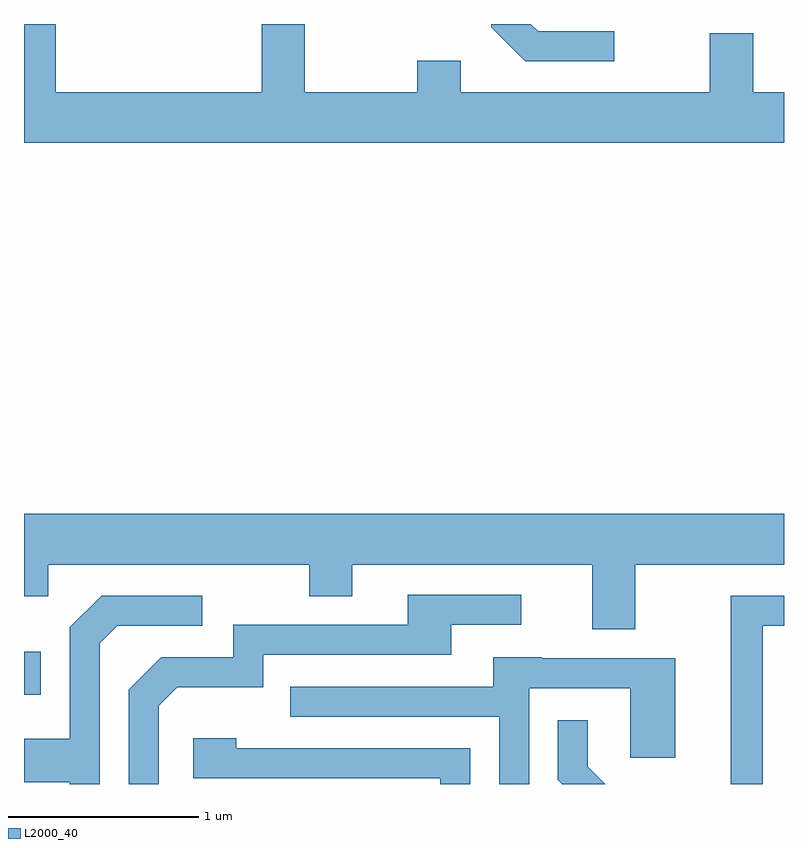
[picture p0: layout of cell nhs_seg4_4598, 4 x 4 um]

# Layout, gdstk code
import gdstk
lib = gdstk.Library(unit=1e-6, precision=1e-09)
def R(c, l, rs):  # rectangles x0, y0, x1, y1
    for r in rs: c.add(gdstk.rectangle(r[:2], r[2:], *l))
def P(c, l, *ps):  # polygons
    for p in ps: c.add(gdstk.Polygon(p, *l))
L2000_40 = (2000, 40)

nhs_seg4_4598 = lib.new_cell('nhs_seg4_4598')
R(nhs_seg4_4598, L2000_40, [(319.611,1338.451,319.699,1338.679)])
P(nhs_seg4_4598, L2000_40, [(323.611,1341.624),(323.449,1341.624),(323.449,1341.934),(323.221,1341.934),(323.221,1341.624),(321.909,1341.624),(321.909,1341.789),(321.681,1341.789),(321.681,1341.624),(321.089,1341.624),(321.089,1341.982),(320.861,1341.982),(320.861,1341.624),(319.779,1341.624),(319.779,1341.982),(319.611,1341.982),(319.611,1341.356),(323.611,1341.356)],
  [(322.718,1341.944),(322.317,1341.944),(322.279,1341.982),(322.071,1341.982),(322.071,1341.964),(322.249,1341.786),(322.718,1341.786)],
  [(322.829,1339.136),(323.611,1339.136),(323.611,1339.404),(319.611,1339.404),(319.611,1338.971),(319.739,1338.971),(319.739,1339.136),(321.111,1339.136),(321.111,1338.971),(321.339,1338.971),(321.339,1339.136),(322.601,1339.136),(322.601,1338.796),(322.829,1338.796)],
  [(320.319,1338.394),(320.417,1338.491),(320.869,1338.491),(320.869,1338.661),(321.859,1338.661),(321.859,1338.821),(322.228,1338.821),(322.228,1338.979),(321.631,1338.979),(321.631,1338.819),(320.711,1338.819),(320.711,1338.649),(320.334,1338.649),(320.161,1338.477),(320.161,1337.982),(320.319,1337.982)],
  [(323.499,1338.816),(323.611,1338.816),(323.611,1338.974),(323.331,1338.974),(323.331,1337.982),(323.499,1337.982)],
  [(320.009,1338.724),(320.102,1338.816),(320.548,1338.816),(320.548,1338.974),(320.019,1338.974),(319.851,1338.807),(319.851,1338.219),(319.611,1338.219),(319.611,1337.991),(319.851,1337.991),(319.851,1337.982),(320.009,1337.982)],
  [(322.269,1338.486),(322.801,1338.486),(322.801,1338.121),(323.039,1338.121),(323.039,1338.644),(322.335,1338.644),(322.335,1338.649),(322.081,1338.649),(322.081,1338.494),(321.013,1338.494),(321.013,1338.336),(322.111,1338.336),(322.111,1337.982),(322.269,1337.982)],
  [(322.579,1338.072),(322.579,1338.318),(322.421,1338.318),(322.421,1338.004),(322.443,1337.982),(322.669,1337.982)],
  [(321.959,1338.169),(320.729,1338.169),(320.729,1338.224),(320.501,1338.224),(320.501,1338.011),(321.801,1338.011),(321.801,1337.982),(321.959,1337.982)])

lib.write_gds('nhs_seg4_4598.gds')
